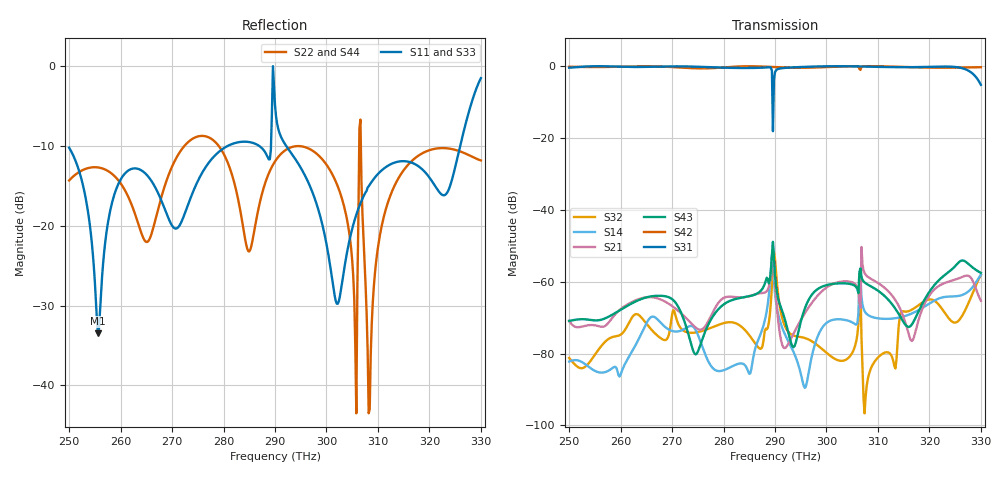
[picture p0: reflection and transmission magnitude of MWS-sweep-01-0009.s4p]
! TOUCHSTONE file generated by CST MICROWAVE STUDIO
! Date and time: Sun Sep 21 00:16:52 2025
! Project name: biblioteca3.cst
! Parameters = {t_sub=2000; t_air=1200; k=0; n=0; wavelength_nm=0; H=600; Lx=200; Ly=260; P=520}
! Header version: 2018
! Port assignment regex: !\s*Touchstone port\s*([0-9]+)\s*=\s*(CST MWS port|CST DS port)\s*([0-9]+|Zmin|Zmax)\s*\(\"(.*)\"\)(\s*mode\s*([0-9]+))?.*
! Touchstone port assignment:
! Touchstone port 1 = CST MWS port Zmin ("") mode 1
! Touchstone port 2 = CST MWS port Zmin ("") mode 2
! Touchstone port 3 = CST MWS port Zmax ("") mode 1
! Touchstone port 4 = CST MWS port Zmax ("") mode 2
! S-Parameters are not renormalized. Unphysical impedance of 50 will be written to the file.
# GHz S RI R 50
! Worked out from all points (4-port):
!   401 points, 250 THz to 330 THz, reference per port
!   strongest paths, dB at 250 THz, 270 THz, 290 THz, 310 THz, 330 THz:
!     S31: -0.4, 0.0, -1.7, -0.2, -5.2
!     S42: -0.2, -0.2, -0.3, 0.0, -0.3
!     S43: -70.9, -64.8, -58.2, -62.5, -57.6
!     S21: -71.0, -66.8, -60.3, -60.4, -65.3
!     S14: -82.2, -73.7, -63.3, -70.2, -58.1
!     S32: -81.2, -69.3, -53.7, -81.1, -58.2
!   lowest |S11| = -33.5 dB at 255.6 THz (marker M1), VSWR 1.04
!   |S11| at or under -10 dB: start of sweep to 280.9 THz; 286.8 THz to 289.2 THz (2.389 THz wide, 0.83 % of centre); 292.1 THz to 326 THz (33.86 THz wide, 11 % of centre)
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250000  -0.2215 -0.2123  4.93e-05 0.000292  -0.9452 -0.112  -4.76e-05 -6.1e-05
        -1.41e-05 0.000282  0.0627 -0.1809  -3.43e-05 -6.71e-05  0.0826 -0.978
        -0.9449 -0.1121  -7.08e-05 -5.01e-05  0.265 -0.1547  -0.000262 -5.24e-05
        -8.27e-06 1.94e-05  0.0824 -0.9778  -0.000281 -5.07e-05  0.0315 0.1889
255600  -0.0178 -0.0116  8.87e-05 0.000278  -0.0463 0.9987  -1.26e-05 5.37e-05
        0.000158 0.000183  -0.1319 -0.1895  2.9e-05 8.46e-05  -0.8673 -0.4409
        -0.0463 0.9986  4.36e-05 0.000102  -0.0188 0.00991  0.000154 0.000162
        -2.83e-05 -1.99e-05  -0.8669 -0.4409  0.000158 0.000243  0.2308 -0.00502
267000  -0.1531 0.0659  0.000449 -0.000474  -0.00196 -0.9861  0.000223 -0.000211
        0.000436 -0.0004  -0.0924 -0.071  -0.000156 -8.97e-05  0.6198 0.7762
        -0.00187 -0.9857  -0.000172 -5.83e-05  -0.1534 -0.0653  -0.000666 -0.000108
        0.000189 -0.000124  0.6197 0.776  -0.000633 -6.37e-05  0.0488 0.1058
279800  -0.1649 0.2516  -6.69e-06 -0.00047  -0.051 0.9524  -5.38e-05 2.14e-05
        5.2e-05 -0.000579  0.0867 0.2764  0.000208 0.000228  -0.8514 -0.4374
        -0.0513 0.9527  0.000138 0.000223  -0.1371 -0.2678  -0.000358 -0.000273
        -7.69e-05 0.000112  -0.8513 -0.4372  -0.00034 -0.000323  -0.2752 0.0905
299400  0.0466 -0.0829  -0.000521 -0.000598  -0.7131 -0.6946  0.000237 -4.45e-05
        -0.000502 -0.000581  0.1933 -0.1659  0.000108 -1.24e-05  -0.024 -0.967
        -0.7127 -0.6948  0.000105 -3.8e-05  0.0816 -0.0487  6.19e-05 0.00084
        0.000263 -0.000108  -0.024 -0.9667  3.85e-05 0.000866  0.2012 0.1561
313800  0.122 -0.2187  0.00034 7.12e-05  0.5227 0.8148  -0.000298 9.94e-05
        0.000478 0.00013  0.1711 -0.0892  -0.000251 -0.000105  0.0159 0.9812
        0.5227 0.8149  -9.24e-05 -0.000105  0.2497 -0.0196  0.000158 -0.000151
        -0.000269 0.000159  0.0159 0.9813  0.000356 -0.000129  0.1739 0.0836
330000  -0.7592 -0.3473  0.00032 8.4e-05  -0.5502 -0.00763  -0.000658 -0.00106
        0.00054 -5.23e-05  -0.251 -0.0459  0.00053 0.0009  -0.1436 -0.9559
        -0.5503 -0.00763  0.00066 0.00105  0.7686 -0.3261  0.00114 -0.000508
        -0.00043 -0.000751  -0.1438 -0.9564  0.00112 -0.000713  -0.2265 0.1176
